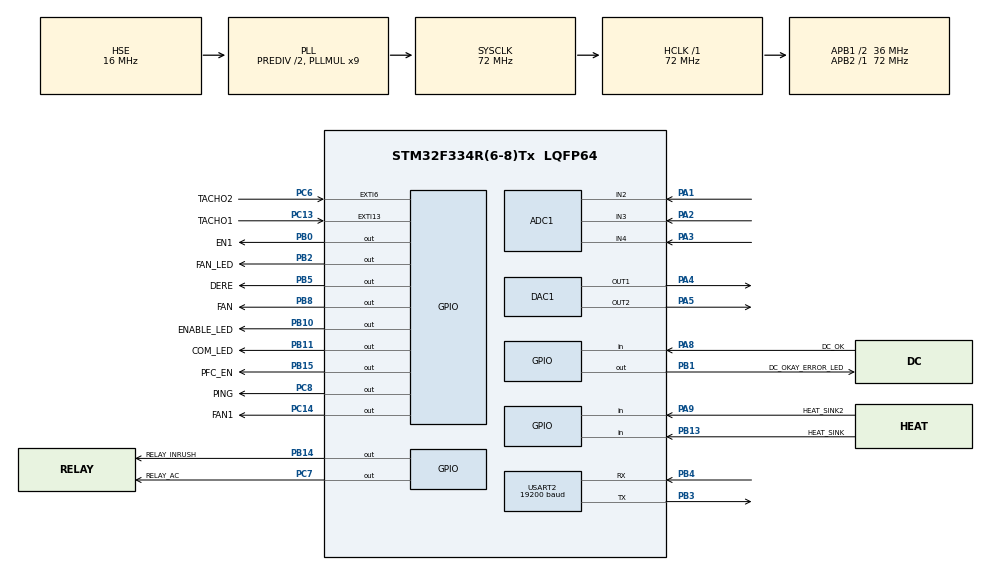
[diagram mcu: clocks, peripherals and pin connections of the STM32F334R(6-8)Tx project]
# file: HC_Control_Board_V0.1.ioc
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ADC1.Channel-0\#ChannelRegularConversion=ADC_CHANNEL_2
ADC1.Channel-1\#ChannelRegularConversion=ADC_CHANNEL_3
ADC1.Channel-2\#ChannelRegularConversion=ADC_CHANNEL_4
ADC1.Channel-3\#ChannelRegularConversion=ADC_CHANNEL_TEMPSENSOR
ADC1.Channel-4\#ChannelRegularConversion=ADC_CHANNEL_VBAT
ADC1.DMAContinuousRequests=ENABLE
ADC1.EOCSelection=ADC_EOC_SEQ_CONV
ADC1.ExternalTrigConv=ADC_EXTERNALTRIGCONV_T3_TRGO
ADC1.NbrOfConversion=5
ADC1.NbrOfConversionFlag=1
ADC1.Offset-0\#ChannelRegularConversion=0
ADC1.Offset-1\#ChannelRegularConversion=0
ADC1.Offset-2\#ChannelRegularConversion=0
ADC1.Offset-3\#ChannelRegularConversion=0
ADC1.Offset-4\#ChannelRegularConversion=0
ADC1.OffsetNumber-0\#ChannelRegularConversion=ADC_OFFSET_NONE
ADC1.OffsetNumber-1\#ChannelRegularConversion=ADC_OFFSET_NONE
ADC1.OffsetNumber-2\#ChannelRegularConversion=ADC_OFFSET_NONE
ADC1.OffsetNumber-3\#ChannelRegularConversion=ADC_OFFSET_NONE
ADC1.OffsetNumber-4\#ChannelRegularConversion=ADC_OFFSET_NONE
ADC1.Rank-0\#ChannelRegularConversion=1
ADC1.Rank-1\#ChannelRegularConversion=2
ADC1.Rank-2\#ChannelRegularConversion=3
ADC1.Rank-3\#ChannelRegularConversion=4
ADC1.Rank-4\#ChannelRegularConversion=5
ADC1.SamplingTime-0\#ChannelRegularConversion=ADC_SAMPLETIME_601CYCLES_5
ADC1.SamplingTime-1\#ChannelRegularConversion=ADC_SAMPLETIME_601CYCLES_5
ADC1.SamplingTime-2\#ChannelRegularConversion=ADC_SAMPLETIME_601CYCLES_5
ADC1.SamplingTime-3\#ChannelRegularConversion=ADC_SAMPLETIME_601CYCLES_5
ADC1.SamplingTime-4\#ChannelRegularConversion=ADC_SAMPLETIME_601CYCLES_5
ADC1.SamplingTimeOPAMP-3\#ChannelRegularConversion=ADC_SAMPLETIME_61CYCLES_5
ADC1.SamplingTimeOPAMP-4\#ChannelRegularConversion=ADC_SAMPLETIME_61CYCLES_5
ADC1.SequencerNbRanks=1
ADC1.SubFamily=STM32F334x8
ADC1.master=1
Dma.ADC1.0.Direction=DMA_PERIPH_TO_MEMORY
Dma.ADC1.0.Instance=DMA1_Channel1
Dma.ADC1.0.MemDataAlignment=DMA_MDATAALIGN_HALFWORD
Dma.ADC1.0.MemInc=DMA_MINC_ENABLE
Dma.ADC1.0.Mode=DMA_CIRCULAR
Dma.ADC1.0.PeriphDataAlignment=DMA_PDATAALIGN_HALFWORD
Dma.ADC1.0.PeriphInc=DMA_PINC_DISABLE
Dma.ADC1.0.Priority=DMA_PRIORITY_LOW
Dma.Request0=ADC1
Dma.Request1=USART2_RX
Dma.USART2_RX.1.Direction=DMA_PERIPH_TO_MEMORY
Dma.USART2_RX.1.Instance=DMA1_Channel6
Dma.USART2_RX.1.MemDataAlignment=DMA_MDATAALIGN_BYTE
Dma.USART2_RX.1.MemInc=DMA_MINC_ENABLE
Dma.USART2_RX.1.Mode=DMA_NORMAL
Dma.USART2_RX.1.PeriphDataAlignment=DMA_PDATAALIGN_BYTE
Dma.USART2_RX.1.PeriphInc=DMA_PINC_DISABLE
Dma.USART2_RX.1.Priority=DMA_PRIORITY_MEDIUM
FREERTOS.Tasks01=defaultTask,0,128,StartDefaultTask,Default,NULL,Dynamic,NULL,NULL
FREERTOS.configUSE_NEWLIB_REENTRANT=1
Mcu.Family=STM32F3
Mcu.Name=STM32F334R(6-8)Tx
Mcu.Package=LQFP64
NVIC.ADC1_2_IRQn=true\:5\:0\:false\:false\:true\:true\:true\:true\:true
NVIC.DMA1_Channel1_IRQn=true\:5\:0\:false\:false\:true\:true\:false\:true\:true
NVIC.DMA1_Channel6_IRQn=true\:5\:0\:false\:false\:true\:true\:false\:true\:true
NVIC.EXTI15_10_IRQn=true\:5\:0\:false\:false\:true\:true\:true\:true\:true
NVIC.EXTI9_5_IRQn=true\:5\:0\:false\:false\:true\:true\:true\:true\:true
NVIC.PriorityGroup=NVIC_PRIORITYGROUP_4
NVIC.TIM7_DAC2_IRQn=true\:15\:0\:false\:false\:true\:false\:false\:true\:true
NVIC.TimeBase=TIM7_DAC2_IRQn
NVIC.TimeBaseIP=TIM7
NVIC.USART2_IRQn=true\:5\:0\:false\:false\:true\:true\:true\:true\:true
PA1.Mode=IN2-Single-Ended
PA1.Signal=ADC1_IN2
PA13.Mode=Serial_Wire
PA13.Signal=SYS_JTMS-SWDIO
PA14.Mode=Serial_Wire
PA14.Signal=SYS_JTCK-SWCLK
PA2.Mode=IN3-Single-Ended
PA2.Signal=ADC1_IN3
PA3.Mode=IN4-Single-Ended
PA3.Signal=ADC1_IN4
PA4.Signal=COMP_DAC11_group
PA5.Signal=COMP_DAC12_group
PA8.GPIO_Label=DC_OK
PA8.Signal=GPIO_Input
PA9.GPIO_Label=HEAT_SINK2
PA9.Signal=GPIO_Input
PB0.GPIO_Label=EN1
PB0.Signal=GPIO_Output
PB1.GPIO_Label=DC_OKAY_ERROR_LED
PB1.Signal=GPIO_Output
PB10.GPIO_Label=ENABLE_LED
PB10.Signal=GPIO_Output
PB11.GPIO_Label=COM_LED
PB11.Signal=GPIO_Output
PB13.GPIO_Label=HEAT_SINK
PB13.Signal=GPIO_Input
PB14.GPIO_Label=RELAY_INRUSH
PB14.Signal=GPIO_Output
PB15.GPIO_Label=PFC_EN
PB15.Signal=GPIO_Output
PB2.GPIO_Label=FAN_LED
PB2.Signal=GPIO_Output
PB3.Mode=Asynchronous
PB3.Signal=USART2_TX
PB4.Mode=Asynchronous
PB4.Signal=USART2_RX
PB5.GPIO_Label=DERE
PB5.Signal=GPIO_Output
PB8.GPIO_Label=FAN
PB8.Signal=GPIO_Output
PC13.GPIO_Label=TACHO1
PC13.Signal=GPXTI13
PC14\ /\ OSC32_IN.GPIO_Label=FAN1
PC14\ /\ OSC32_IN.Signal=GPIO_Output
PC6.GPIO_Label=TACHO2
PC6.Signal=GPXTI6
PC7.GPIO_Label=RELAY_AC
PC7.Signal=GPIO_Output
PC8.GPIO_Label=PING
PC8.Signal=GPIO_Output
PF0\ /\ OSC_IN.Mode=HSE-External-Oscillator
PF0\ /\ OSC_IN.Signal=RCC_OSC_IN
PF1\ /\ OSC_OUT.Mode=HSE-External-Oscillator
PF1\ /\ OSC_OUT.Signal=RCC_OSC_OUT
ProjectManager.HeapSize=0x200
ProjectManager.StackSize=0x400
ProjectManager.TargetToolchain=STM32CubeIDE
RCC.ADC12PRES=RCC_ADC12PLLCLK_DIV256
RCC.AHBFreq_Value=72000000
RCC.APB1CLKDivider=RCC_HCLK_DIV2
RCC.APB1Freq_Value=36000000
RCC.APB1TimFreq_Value=72000000
RCC.APB2Freq_Value=72000000
RCC.APB2TimFreq_Value=72000000
RCC.CortexFreq_Value=72000000
RCC.HCLKFreq_Value=72000000
RCC.HSE_VALUE=16000000
RCC.HSI_VALUE=8000000
RCC.LSE_VALUE=32768
RCC.PLLMUL=RCC_PLL_MUL9
RCC.PLLSourceVirtual=RCC_PLLSOURCE_HSE
RCC.RCC_PLLsource_Clock_Source_FROM_HSE=RCC_HSE_PREDIV_DIV2
RCC.SYSCLKFreq_VALUE=72000000
RCC.SYSCLKSourceVirtual=RCC_SYSCLKSOURCE_PLLCLK
SH.COMP_DAC11_group.0=DAC1_OUT1,DAC_OUT1
SH.COMP_DAC12_group.0=DAC1_OUT2,DAC_OUT2
TIM3.AutoReloadPreload=TIM_AUTORELOAD_PRELOAD_ENABLE
TIM3.Period=10000
TIM3.Prescaler=288
TIM3.TIM_MasterOutputTrigger=TIM_TRGO_UPDATE
USART2.BaudRate=19200
USART2.VirtualMode-Asynchronous=VM_ASYNC
VP_ADC1_TempSens_Input.Mode=IN-TempSens
VP_ADC1_Vbat_Input.Mode=IN-Vbat
VP_CRC_VS_CRC.Mode=CRC_Activate
VP_FREERTOS_VS_CMSIS_V1.Mode=CMSIS_V1
VP_SYS_VS_tim7.Mode=TIM7
VP_TIM3_VS_ClockSourceINT.Mode=Internal
board=custom

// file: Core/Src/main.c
/* USER CODE BEGIN Header */
/**
  ******************************************************************************
  * @file           : main.c
  * @brief          : Main program body
  ******************************************************************************
  * @attention
  *
  * Copyright (c) 2025 STMicroelectronics.
  * All rights reserved.
  *
  * This software is licensed under terms that can be found in the LICENSE file
  * in the root directory of this software component.
  * If no LICENSE file comes with this software, it is provided AS-IS.
  *
  ******************************************************************************
  */
/* USER CODE END Header */
#include "main.h"
#include "cmsis_os.h"
#include "adc.h"
#include "crc.h"
#include "dac.h"
#include "dma.h"
#include "tim.h"
#include "usart.h"
#include "gpio.h"

/* USER CODE BEGIN Includes */
#include "Communication.h"
#include "io.h"
#include "systeminit.h"
/* USER CODE END Includes */

void SystemClock_Config(void);
void MX_FREERTOS_Init(void);

int main(void)
{

  /* MCU Configuration--------------------------------------------------------*/

  /* Reset of all peripherals, Initializes the Flash interface and the Systick. */
  HAL_Init();

  /* Configure the system clock */
  SystemClock_Config();

  /* Initialize all configured peripherals */
  MX_GPIO_Init();
  MX_DMA_Init();
  MX_ADC1_Init();
  MX_DAC1_Init();
  MX_USART2_UART_Init();
  MX_TIM3_Init();
  MX_CRC_Init();
  /* USER CODE BEGIN 2 */
  sysinit_function();
  /* USER CODE END 2 */

  /* Call init function for freertos objects (in freertos.c) */
  MX_FREERTOS_Init();

  /* Start scheduler */
  osKernelStart();

  /* We should never get here as control is now taken by the scheduler */
  /* Infinite loop */
  while (1)
  {

  }
}

void SystemClock_Config(void)
{
  RCC_OscInitTypeDef RCC_OscInitStruct = {0};
  RCC_ClkInitTypeDef RCC_ClkInitStruct = {0};
  RCC_PeriphCLKInitTypeDef PeriphClkInit = {0};

  /** Initializes the RCC Oscillators according to the specified parameters
  * in the RCC_OscInitTypeDef structure.
  */
  RCC_OscInitStruct.OscillatorType = RCC_OSCILLATORTYPE_HSE;
  RCC_OscInitStruct.HSEState = RCC_HSE_ON;
  RCC_OscInitStruct.HSEPredivValue = RCC_HSE_PREDIV_DIV2;
  RCC_OscInitStruct.HSIState = RCC_HSI_ON;
  RCC_OscInitStruct.PLL.PLLState = RCC_PLL_ON;
  RCC_OscInitStruct.PLL.PLLSource = RCC_PLLSOURCE_HSE;
  RCC_OscInitStruct.PLL.PLLMUL = RCC_PLL_MUL9;
  if (HAL_RCC_OscConfig(&RCC_OscInitStruct) != HAL_OK)
  {
    Error_Handler();
  }

  /** Initializes the CPU, AHB and APB buses clocks
  */
  RCC_ClkInitStruct.ClockType = RCC_CLOCKTYPE_HCLK|RCC_CLOCKTYPE_SYSCLK
                              |RCC_CLOCKTYPE_PCLK1|RCC_CLOCKTYPE_PCLK2;
  RCC_ClkInitStruct.SYSCLKSource = RCC_SYSCLKSOURCE_PLLCLK;
  RCC_ClkInitStruct.AHBCLKDivider = RCC_SYSCLK_DIV1;
  RCC_ClkInitStruct.APB1CLKDivider = RCC_HCLK_DIV2;
  RCC_ClkInitStruct.APB2CLKDivider = RCC_HCLK_DIV1;

  if (HAL_RCC_ClockConfig(&RCC_ClkInitStruct, FLASH_LATENCY_2) != HAL_OK)
  {
    Error_Handler();
  }
  PeriphClkInit.PeriphClockSelection = RCC_PERIPHCLK_ADC12;
  PeriphClkInit.Adc12ClockSelection = RCC_ADC12PLLCLK_DIV256;
  if (HAL_RCCEx_PeriphCLKConfig(&PeriphClkInit) != HAL_OK)
  {
    Error_Handler();
  }
}

void HAL_TIM_PeriodElapsedCallback(TIM_HandleTypeDef *htim)
{
  if (htim->Instance == TIM7) {
    HAL_IncTick();
  }
}

void Error_Handler(void)
{
  __disable_irq();
  while (1)
  {
  }
}

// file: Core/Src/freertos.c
/* USER CODE BEGIN Header */
/**
  ******************************************************************************
  * File Name          : freertos.c
  * Description        : Code for freertos applications
  ******************************************************************************
  * @attention
  *
  * Copyright (c) 2025 STMicroelectronics.
  * All rights reserved.
  *
  * This software is licensed under terms that can be found in the LICENSE file
  * in the root directory of this software component.
  * If no LICENSE file comes with this software, it is provided AS-IS.
  *
  ******************************************************************************
  */
/* USER CODE END Header */

#include "FreeRTOS.h"
#include "task.h"
#include "main.h"
#include "cmsis_os.h"

/* USER CODE BEGIN Includes */
#include "Communication.h"
#include "io.h"
#include "systeminit.h"
/* USER CODE END Includes */

/* USER CODE BEGIN PM */
void comunication_function(void const * argument);
void io_task(void const * argument);
/* USER CODE END PM */

osThreadId defaultTaskHandle;

/* USER CODE BEGIN FunctionPrototypes */
osThreadId communicationTaskHandle;
osThreadId ioTaskHandle;
/* USER CODE END FunctionPrototypes */

void StartDefaultTask(void const * argument);

void MX_FREERTOS_Init(void); /* (MISRA C 2004 rule 8.1) */

/* GetIdleTaskMemory prototype (linked to static allocation support) */
void vApplicationGetIdleTaskMemory( StaticTask_t **ppxIdleTaskTCBBuffer, StackType_t **ppxIdleTaskStackBuffer, uint32_t *pulIdleTaskStackSize );

/* USER CODE BEGIN GET_IDLE_TASK_MEMORY */
static StaticTask_t xIdleTaskTCBBuffer;
static StackType_t xIdleStack[configMINIMAL_STACK_SIZE];

void vApplicationGetIdleTaskMemory( StaticTask_t **ppxIdleTaskTCBBuffer, StackType_t **ppxIdleTaskStackBuffer, uint32_t *pulIdleTaskStackSize )
{
  *ppxIdleTaskTCBBuffer = &xIdleTaskTCBBuffer;
  *ppxIdleTaskStackBuffer = &xIdleStack[0];
  *pulIdleTaskStackSize = configMINIMAL_STACK_SIZE;
  /* place for user code */
}
/* USER CODE END GET_IDLE_TASK_MEMORY */

void MX_FREERTOS_Init(void) {

  /* Create the thread(s) */
  /* definition and creation of defaultTask */
  osThreadDef(defaultTask, StartDefaultTask, osPriorityNormal, 0, 128);
  defaultTaskHandle = osThreadCreate(osThread(defaultTask), NULL);

  /* USER CODE BEGIN RTOS_THREADS */
  /* add threads, ... */
  osThreadDef(communicationTask,comunication_function,osPriorityNormal,0,128);
  communicationTaskHandle = osThreadCreate(osThread(communicationTask),NULL);

  osThreadDef(ioTask,io_task,osPriorityNormal,0,128);
  ioTaskHandle = osThreadCreate(osThread(ioTask),NULL);
  /* USER CODE END RTOS_THREADS */

}

void StartDefaultTask(void const * argument)
{
  /* USER CODE BEGIN StartDefaultTask */
  /* Infinite loop */
  for(;;)
  {
    osDelay(150);
  }
  /* USER CODE END StartDefaultTask */
}

/* USER CODE BEGIN Application */
void comunication_function(void const * argument)
{
	//HAL_UART_Receive_IT(&huart2,(uint8_t*)uart_buf, 1);
	while(1)
	{
		com_data_parser();
		osDelay(200);
	}
}

void io_task(void const * argument)
{
	while(1)
	{
		io_function();
		osDelay(300);
		HAL_GPIO_TogglePin(PING_GPIO_Port, PING_Pin);
	}

}

void HAL_ADC_ConvCpltCallback(ADC_HandleTypeDef* hadc)
{
	uint32_t sumV=0,sumI=0,sumPot=0,sumT=0,sumVbat=0;
	float temp_V_mv=0,VOUT=0,IOUT=0;
	uint16_t i=0;
	HAL_TIM_Base_Stop(&htim3);
	for(i=0;i<(ADC_PARAMETER * ADC_SAMPLE_NUM);i+=ADC_PARAMETER)
	{
		sumV   += iov.adcbuf[i];
		sumI   += iov.adcbuf[i+1];
		sumPot += iov.adcbuf[i+2];
		sumT   += iov.adcbuf[i+3];
		sumVbat+= iov.adcbuf[i+4];
	}
	VOUT = sumV   / (float) ADC_SAMPLE_NUM;
	IOUT = sumI   / (float) ADC_SAMPLE_NUM;
	iov.vout  = iov.vout * ALPHA + VOUT * BETA;
	iov.iout  = iov.iout * ALPHA + IOUT * BETA;
	iov.pot   = sumPot / (float) ADC_SAMPLE_NUM;
	temp_V_mv = sumT   / (float) ADC_SAMPLE_NUM;
	temp_V_mv = (temp_V_mv*VREF_MV) / ADC_RESOLUTION;
	iov.cputemp  = ((V25_VOLTAGE_MV-temp_V_mv)/TEMP_SLOPE)+REF_TEMP;
	iov.vbat  = sumVbat/ (float) ADC_SAMPLE_NUM;
	iov.vbat = (iov.vbat * (VREF_MV/1000))/ADC_RESOLUTION;
	//HAL_ADC_Start_DMA(&hadc1,iov.adcbuf, ADC_PARAMETER * ADC_SAMPLE_NUM);
	HAL_TIM_Base_Start(&htim3);

}

void HAL_GPIO_EXTI_Callback(uint16_t GPIO_Pin)
{
	if(GPIO_Pin==GPIO_PIN_6)
	{
		iov.tacho1_counter++;

	}
	if(GPIO_Pin==GPIO_PIN_13)
	{
		iov.tacho2_counter++;

	}
}

/* USER CODE END Application */
